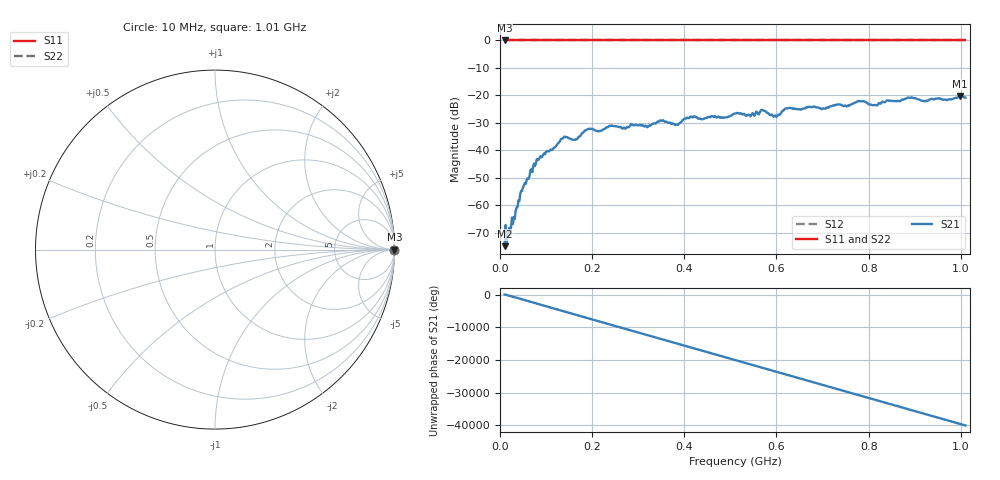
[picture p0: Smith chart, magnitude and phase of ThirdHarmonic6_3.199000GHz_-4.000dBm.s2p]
! 8/17/2025 9:42:27 AM
! C:\ANRITSUVNA\TEMP\TEMP.S2P
! CHANNEL.1
! TR.MEASUREMENT
! RAW.DATA
! RF.CORRECTION.OFF
! AVERAGING.OFF
! IF.BANDWIDTH: 5KHZ
! SWEEPTYPE:  FREQ.SWEEP(Linear)
! Reference Plane Port Info
! PORT:  PORT1  PORT2
! DISTANCE:  0  m  0  m
! TIME:  0  s  0  s
! PHASE.OFFSET:  0  deg.  0  deg.
! LOSS:  0  dB  0  dB
! REF.LOSS:  0  dB  0  dB
! REF.FREQ:  0  Hz  0  Hz
! Power Info
! POWER:  -20  dBm  -20  dBm
! EFF.POWER:  -20  dBm  -20  dBm
! SOURCE.ATTEN:  0  dB  0  dB
! TEST.ATTEN:  0  dB  0  dB
# GHZ S RI R 50.0
! FREQ.GHZ  S11RE  S11IM  S21RE  S21IM  S12RE  S12IM  S22RE  S22IM
!; PortSelection: Port_12
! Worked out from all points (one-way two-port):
!   501 points, 10 MHz to 1.01 GHz, reference 50 ohm
!   highest |S21| = -20.17 dB at 998 MHz (marker M1); lowest = -74.9 dB at 10 MHz (marker M2)
!   lowest |S11| = 0.0 dB at 10 MHz (marker M3)
!   |S11| at or under -10 dB: nowhere
!   |S22| runs from 0.0 to 0.0 dB; largest |S21 - S12| = 1.1
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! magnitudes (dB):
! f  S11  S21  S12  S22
! 10 MHz  0.0  -74.9  0.0  0.0
! 18 MHz  0.0  -70.4  0.0  0.0
! 48 MHz  0.0  -54.8  0.0  0.0
! 78 MHz  0.0  -44.6  0.0  0.0
! 136 MHz  0.0  -35.7  0.0  0.0
! 164 MHz  0.0  -36.2  0.0  0.0
! 178 MHz  0.0  -33.8  0.0  0.0
! 194 MHz  0.0  -32.2  0.0  0.0
! 318 MHz  0.0  -31.3  0.0  0.0
! 344 MHz  0.0  -29.6  0.0  0.0
! 384 MHz  0.0  -30.7  0.0  0.0
! 410 MHz  0.0  -28.3  0.0  0.0
! 510 MHz  0.0  -26.6  0.0  0.0
! 570 MHz  0.0  -25.3  0.0  0.0
! 598 MHz  0.0  -27.3  0.0  0.0
! 622 MHz  0.0  -24.7  0.0  0.0
! 678 MHz  0.0  -24.2  0.0  0.0
! 780 MHz  0.0  -22.2  0.0  0.0
! 814 MHz  0.0  -23.5  0.0  0.0
! 844 MHz  0.0  -21.9  0.0  0.0
! 998 MHz  0.0  -20.2  0.0  0.0
! 1.01 GHz  0.0  -20.8  0.0  0.0
